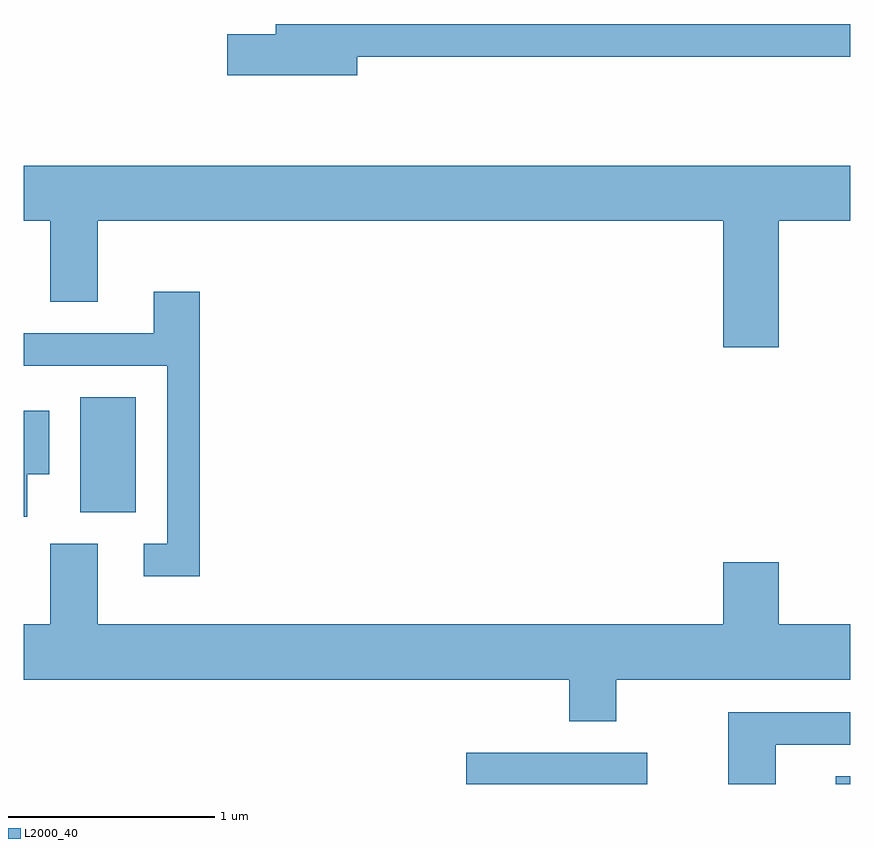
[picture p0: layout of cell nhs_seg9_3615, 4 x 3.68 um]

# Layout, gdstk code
import gdstk
lib = gdstk.Library(unit=1e-6, precision=1e-09)
def R(c, l, rs):  # rectangles x0, y0, x1, y1
    for r in rs: c.add(gdstk.rectangle(r[:2], r[2:], *l))
def P(c, l, *ps):  # polygons
    for p in ps: c.add(gdstk.Polygon(p, *l))
L2000_40 = (2000, 40)

nhs_seg9_3615 = lib.new_cell('nhs_seg9_3615')
R(nhs_seg9_3615, L2000_40, [(293.753,1982.432,294.629,1982.584), (295.541,1982.432,295.611,1982.469), (291.886,1983.746,292.154,1984.304)])
P(nhs_seg9_3615, L2000_40, [(293.224,1985.951),(295.611,1985.951),(295.611,1986.109),(292.831,1986.109),(292.831,1986.059),(292.596,1986.059),(292.596,1985.861),(293.224,1985.861)],
  [(295.264,1985.156),(295.611,1985.156),(295.611,1985.424),(291.611,1985.424),(291.611,1985.156),(291.741,1985.156),(291.741,1984.766),(291.969,1984.766),(291.969,1985.156),(294.996,1985.156),(294.996,1984.546),(295.264,1984.546)],
  [(292.464,1984.814),(292.241,1984.814),(292.241,1984.614),(291.611,1984.614),(291.611,1984.456),(292.306,1984.456),(292.306,1983.594),(292.193,1983.594),(292.193,1983.436),(292.464,1983.436)],
  [(291.629,1983.931),(291.734,1983.931),(291.734,1984.239),(291.611,1984.239),(291.611,1983.726),(291.629,1983.726)],
  [(294.479,1982.936),(295.611,1982.936),(295.611,1983.204),(295.264,1983.204),(295.264,1983.504),(294.996,1983.504),(294.996,1983.204),(291.969,1983.204),(291.969,1983.594),(291.741,1983.594),(291.741,1983.204),(291.611,1983.204),(291.611,1982.936),(294.251,1982.936),(294.251,1982.736),(294.479,1982.736)],
  [(295.249,1982.621),(295.611,1982.621),(295.611,1982.779),(295.021,1982.779),(295.021,1982.432),(295.249,1982.432)])

lib.write_gds('nhs_seg9_3615.gds')
